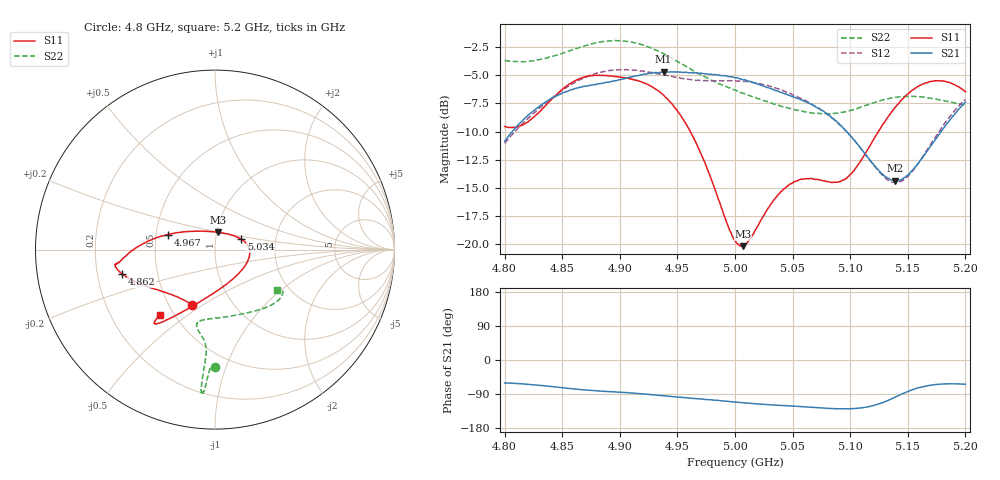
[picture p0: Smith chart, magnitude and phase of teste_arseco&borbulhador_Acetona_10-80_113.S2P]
! Network Analyzer HP8722D
! Hewlett-Packard
! Data name: Linha & Wilkinson
! Saver's name: Rodrigo Anjos
! Comments: Teste da utilização de aquisição
! continua pelo VNA HP8722D
! Time and date: 17/4/2025 15:18
!  Frequency  S11  S21  S12  S22
# HZ  S  MA R 50
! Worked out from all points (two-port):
!   401 points, 4.8 GHz to 5.2 GHz, reference 50 ohm
!   highest |S21| = -4.67 dB at 4.938 GHz (marker M1); lowest = -14.4 dB at 5.139 GHz (marker M2)
!   |S21| within 3 dB of the highest: 4.831 GHz to 5.068 GHz (236.6 MHz wide, 4.78 % of centre); 5.197328 GHz to end of sweep
!   lowest |S11| = -20.2 dB at 5.007 GHz (marker M3), VSWR 1.22, Z = 51 + j9.83 ohm
!   |S11| at or under -10 dB: 4.961 GHz to 5.124 GHz (163.3 MHz wide, 3.24 % of centre)
!   |S22| runs from -8.4 to -1.9 dB; largest |S21 - S12| = 0.88
!   S11 on the Smith chart (normalised r, x): 4.8 GHz: 0.65, -0.45; 4.862 GHz: 0.31, -0.12; 4.967 GHz: 0.58, +0.10; 5.034 GHz: 1.33, +0.16; 5.2 GHz: 0.42, -0.39
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4.8e9  0.333 -113.0  0.286 -60.7  0.2801 -175.0  0.6563 -89.8
4.819e9  0.3463 -132.9  0.368 -63.8  0.3563 -173.3  0.6501 -91.5
4.862e9  0.5353 -165.4  0.4932 -76.8  0.5276 -176.6  0.742 -93.7
4.867e9  0.5486 -167.3  0.4997 -78.4  0.5425 -177.6  0.7558 -93.8
4.9e9  0.5529 -171.9  0.5392 -85.0  0.5964 175.9  0.8029 -95.2
4.934e9  0.4779 -177.8  0.5788 -93.5  0.5724 171.9  0.7182 -95.6
4.938e9  0.4596 -179.6  0.5843 -94.4  0.5658 172.0  0.7034 -95.5
4.953e9  0.3716 172.5  0.5824 -98.3  0.5461 172.7  0.6363 -95.0
4.967e9  0.2757 162.3  0.5765 -102.2  0.5347 174.0  0.5785 -94.9
5e9  0.103 103.0  0.5496 -111.0  0.5328 176.3  0.4828 -99.1
5.007e9  0.0974 78.7  0.5374 -112.8  0.5287 176.3  0.4681 -100.7
5.034e9  0.1574 21.7  0.484 -118.9  0.4968 175.1  0.4183 -103.3
5.05e9  0.1865 5.4  0.4528 -121.8  0.4613 174.3  0.3979 -99.7
5.067e9  0.1949 -12.8  0.4173 -124.8  0.418 173.9  0.3828 -91.0
5.086e9  0.1879 -42.8  0.3595 -128.3  0.3568 173.6  0.3808 -76.5
5.097e9  0.1958 -65.4  0.3154 -128.8  0.3151 174.5  0.3889 -67.5
5.134e9  0.3747 -116.0  0.1943 -105.2  0.1905 -157.9  0.4444 -43.0
5.139e9  0.4053 -119.1  0.1907 -98.3  0.1878 -150.2  0.4493 -40.7
5.151e9  0.4698 -124.1  0.2044 -81.9  0.2021 -131.5  0.4539 -36.3
5.17e9  0.5287 -128.5  0.2729 -66.4  0.2781 -112.5  0.4453 -31.8
5.184e9  0.5265 -129.8  0.3436 -62.8  0.3548 -107.2  0.4315 -30.9
5.2e9  0.476 -130.2  0.4276 -64.1  0.4402 -106.3  0.4148 -33.1
